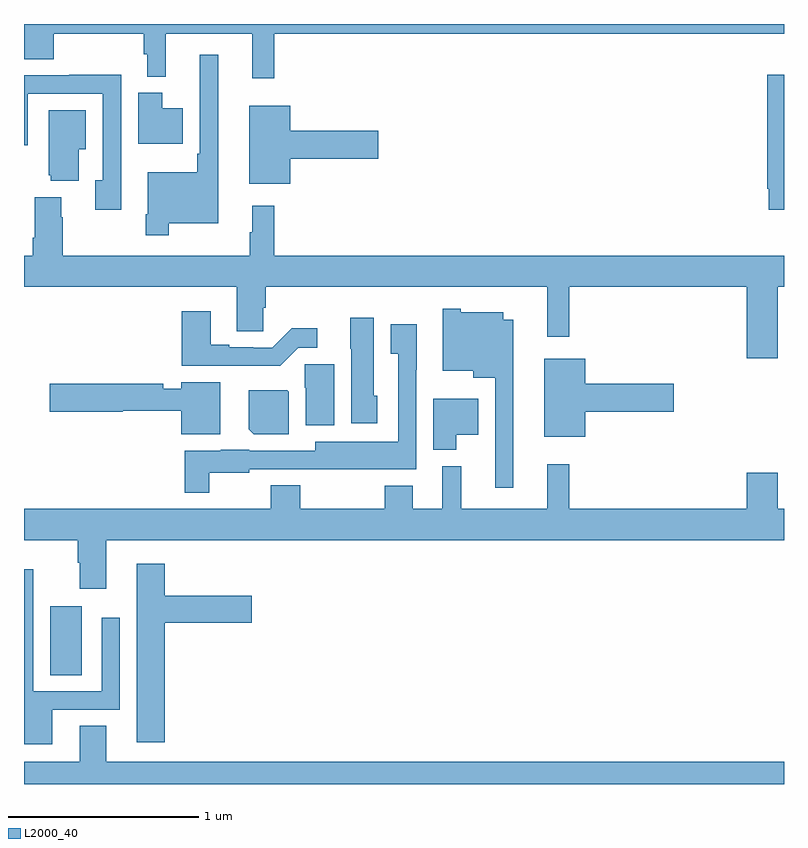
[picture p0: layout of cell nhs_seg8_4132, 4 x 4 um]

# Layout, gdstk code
import gdstk
lib = gdstk.Library(unit=1e-6, precision=1e-09)
def R(c, l, rs):  # rectangles x0, y0, x1, y1
    for r in rs: c.add(gdstk.rectangle(r[:2], r[2:], *l))
def P(c, l, *ps):  # polygons
    for p in ps: c.add(gdstk.Polygon(p, *l))
L2000_40 = (2000, 40)

nhs_seg8_4132 = lib.new_cell('nhs_seg8_4132')
R(nhs_seg8_4132, L2000_40, [(365.138,1098.472,365.305,1098.835)])
P(nhs_seg8_4132, L2000_40, [(366.317,1101.848),(369,1101.848),(369,1101.9),(365,1101.9),(365,1101.715),(365.156,1101.715),(365.156,1101.848),(365.629,1101.848),(365.629,1101.741),(365.648,1101.741),(365.648,1101.623),(365.747,1101.623),(365.747,1101.848),(366.2,1101.848),(366.2,1101.615),(366.317,1101.615)],
  [(365.761,1100.852),(366.022,1100.852),(366.022,1101.739),(365.925,1101.739),(365.925,1101.217),(365.913,1101.217),(365.913,1101.121),(365.652,1101.121),(365.652,1100.899),(365.64,1100.899),(365.64,1100.787),(365.761,1100.787)],
  [(365.512,1101.166),(365.511,1101.166),(365.511,1101.632),(365.239,1101.632),(365.239,1101.63),(365,1101.63),(365,1101.261),(365.019,1101.261),(365.019,1101.534),(365.415,1101.534),(365.415,1101.078),(365.375,1101.078),(365.375,1100.922),(365.512,1100.922)],
  [(369,1101.632),(368.911,1101.632),(368.911,1101.034),(368.919,1101.034),(368.919,1100.922),(369,1100.922)],
  [(365.836,1101.457),(365.728,1101.457),(365.728,1101.538),(365.6,1101.538),(365.6,1101.269),(365.836,1101.269)],
  [(366.4,1101.191),(366.865,1101.191),(366.865,1101.338),(366.4,1101.338),(366.4,1101.469),(366.185,1101.469),(366.185,1101.059),(366.4,1101.059)],
  [(365.287,1101.242),(365.326,1101.242),(365.326,1101.445),(365.129,1101.445),(365.129,1101.105),(365.141,1101.105),(365.141,1101.074),(365.287,1101.074)],
  [(368.968,1100.516),(369,1100.516),(369,1100.68),(366.317,1100.68),(366.317,1100.944),(366.2,1100.944),(366.2,1100.804),(366.189,1100.804),(366.189,1100.68),(365.205,1100.68),(365.205,1100.882),(365.197,1100.882),(365.197,1100.989),(365.057,1100.989),(365.057,1100.776),(365.045,1100.776),(365.045,1100.68),(365,1100.68),(365,1100.516),(366.119,1100.516),(366.119,1100.284),(366.258,1100.284),(366.258,1100.406),(366.272,1100.406),(366.272,1100.516),(367.753,1100.516),(367.753,1100.253),(367.871,1100.253),(367.871,1100.516),(368.804,1100.516),(368.804,1100.142),(368.968,1100.142)],
  [(367.576,1100.344),(367.522,1100.344),(367.522,1100.383),(367.299,1100.383),(367.299,1100.401),(367.205,1100.401),(367.205,1100.075),(367.364,1100.075),(367.364,1100.039),(367.479,1100.039),(367.479,1099.458),(367.576,1099.458)],
  [(366.444,1100.196),(366.544,1100.196),(366.544,1100.299),(366.409,1100.299),(366.306,1100.196),(366.206,1100.196),(366.206,1100.199),(366.079,1100.199),(366.079,1100.212),(365.983,1100.212),(365.983,1100.389),(365.831,1100.389),(365.831,1100.102),(366.349,1100.102)],
  [(366.859,1099.944),(366.841,1099.944),(366.841,1100.353),(366.716,1100.353),(366.716,1100.19),(366.722,1100.19),(366.722,1099.8),(366.859,1099.8)],
  [(365.974,1099.538),(366.186,1099.538),(366.186,1099.557),(366.637,1099.557),(366.637,1099.556),(367.065,1099.556),(367.065,1100.079),(367.066,1100.079),(367.066,1100.32),(366.929,1100.32),(366.929,1100.164),(366.969,1100.164),(366.969,1099.702),(366.533,1099.702),(366.533,1099.653),(366.186,1099.653),(366.186,1099.66),(366.036,1099.66),(366.036,1099.654),(365.845,1099.654),(365.845,1099.433),(365.974,1099.433)],
  [(367.954,1099.859),(368.419,1099.859),(368.419,1100.006),(367.954,1100.006),(367.954,1100.137),(367.739,1100.137),(367.739,1099.727),(367.954,1099.727)],
  [(366.634,1100.109),(366.478,1100.109),(366.478,1099.986),(366.482,1099.986),(366.482,1099.787),(366.634,1099.787)],
  [(366.034,1100.014),(365.828,1100.014),(365.828,1099.98),(365.732,1099.98),(365.732,1100.006),(365.136,1100.006),(365.136,1099.859),(365.52,1099.859),(365.52,1099.864),(365.828,1099.864),(365.828,1099.742),(366.034,1099.742)],
  [(366.394,1099.964),(366.386,1099.972),(366.182,1099.972),(366.182,1099.768),(366.208,1099.742),(366.394,1099.742)],
  [(367.276,1099.739),(367.39,1099.739),(367.39,1099.927),(367.154,1099.927),(367.154,1099.658),(367.276,1099.658)],
  [(365.434,1099.184),(369,1099.184),(369,1099.348),(368.968,1099.348),(368.968,1099.537),(368.804,1099.537),(368.804,1099.348),(367.871,1099.348),(367.871,1099.582),(367.754,1099.582),(367.754,1099.348),(367.301,1099.348),(367.301,1099.573),(367.202,1099.573),(367.202,1099.348),(367.045,1099.348),(367.045,1099.471),(366.898,1099.471),(366.898,1099.348),(366.453,1099.348),(366.453,1099.472),(366.298,1099.472),(366.298,1099.348),(365,1099.348),(365,1099.184),(365.282,1099.184),(365.282,1099.064),(365.294,1099.064),(365.294,1098.927),(365.434,1098.927)],
  [(365.741,1098.749),(366.199,1098.749),(366.199,1098.891),(365.741,1098.891),(365.741,1099.06),(365.594,1099.06),(365.594,1098.12),(365.741,1098.12)],
  [(365.149,1098.291),(365.505,1098.291),(365.505,1098.775),(365.409,1098.775),(365.409,1098.387),(365.049,1098.387),(365.049,1099.03),(365,1099.03),(365,1098.11),(365.149,1098.11)],
  [(369,1098.016),(365.434,1098.016),(365.434,1098.206),(365.294,1098.206),(365.294,1098.016),(365,1098.016),(365,1097.9),(369,1097.9)])

lib.write_gds('nhs_seg8_4132.gds')
